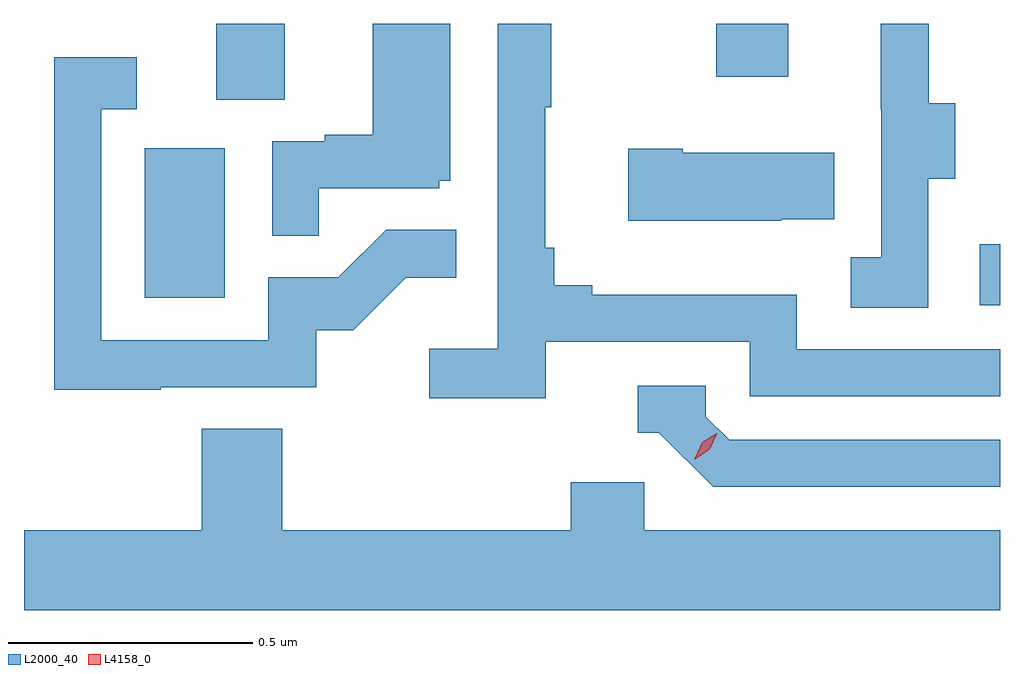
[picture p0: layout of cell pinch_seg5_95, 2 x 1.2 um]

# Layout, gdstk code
import gdstk
lib = gdstk.Library(unit=1e-6, precision=1e-09)
def R(c, l, rs):  # rectangles x0, y0, x1, y1
    for r in rs: c.add(gdstk.rectangle(r[:2], r[2:], *l))
def P(c, l, *ps):  # polygons
    for p in ps: c.add(gdstk.Polygon(p, *l))
L2000_40 = (2000, 40)
L4158_0 = (4158, 0)

pinch_seg5_95 = lib.new_cell('pinch_seg5_95')
R(pinch_seg5_95, L2000_40, [(1020.399,906.669,1020.441,906.794), (1018.688,906.684,1018.852,906.991), (1018.835,907.09,1018.975,907.246), (1019.86,907.137,1020.007,907.246)])
P(pinch_seg5_95, L2000_40, [(1019.045,906.909),(1019.292,906.909),(1019.292,906.924),(1019.314,906.924),(1019.314,907.246),(1019.156,907.246),(1019.156,907.018),(1019.057,907.018),(1019.057,907.005),(1018.95,907.005),(1018.95,906.811),(1019.045,906.811)],
  [(1020.294,906.928),(1020.349,906.928),(1020.349,907.083),(1020.295,907.083),(1020.295,907.246),(1020.197,907.246),(1020.197,907.071),(1020.198,907.071),(1020.198,906.767),(1020.135,906.767),(1020.135,906.664),(1020.294,906.664)],
  [(1019.51,906.594),(1019.928,906.594),(1019.928,906.483),(1020.441,906.483),(1020.441,906.579),(1020.024,906.579),(1020.024,906.691),(1019.605,906.691),(1019.605,906.71),(1019.528,906.71),(1019.528,906.787),(1019.509,906.787),(1019.509,907.075),(1019.521,907.075),(1019.521,907.246),(1019.412,907.246),(1019.412,906.58),(1019.271,906.58),(1019.271,906.478),(1019.51,906.478)],
  [(1018.721,906.501),(1019.04,906.501),(1019.04,906.618),(1019.116,906.618),(1019.223,906.725),(1019.327,906.725),(1019.327,906.824),(1019.183,906.824),(1019.085,906.726),(1018.941,906.726),(1018.941,906.597),(1018.599,906.597),(1018.599,907.071),(1018.672,907.071),(1018.672,907.177),(1018.503,907.177),(1018.503,906.496),(1018.721,906.496)],
  [(1019.993,906.845),(1020.101,906.845),(1020.101,906.982),(1019.791,906.982),(1019.791,906.99),(1019.679,906.99),(1019.679,906.842),(1019.993,906.842)],
  [(1020.441,906.393),(1019.886,906.393),(1019.838,906.441),(1019.838,906.504),(1019.699,906.504),(1019.699,906.408),(1019.742,906.408),(1019.853,906.297),(1020.441,906.297)],
  [(1020.441,906.208),(1019.712,906.208),(1019.712,906.306),(1019.561,906.306),(1019.561,906.208),(1018.97,906.208),(1018.97,906.416),(1018.805,906.416),(1018.805,906.208),(1018.441,906.208),(1018.441,906.044),(1020.441,906.044)])
P(pinch_seg5_95, L4158_0, [(1019.815,906.354),(1019.815,906.355),(1019.831,906.388),(1019.861,906.407),(1019.862,906.407),(1019.862,906.407),(1019.846,906.374),(1019.816,906.354)])

lib.write_gds('pinch_seg5_95.gds')
